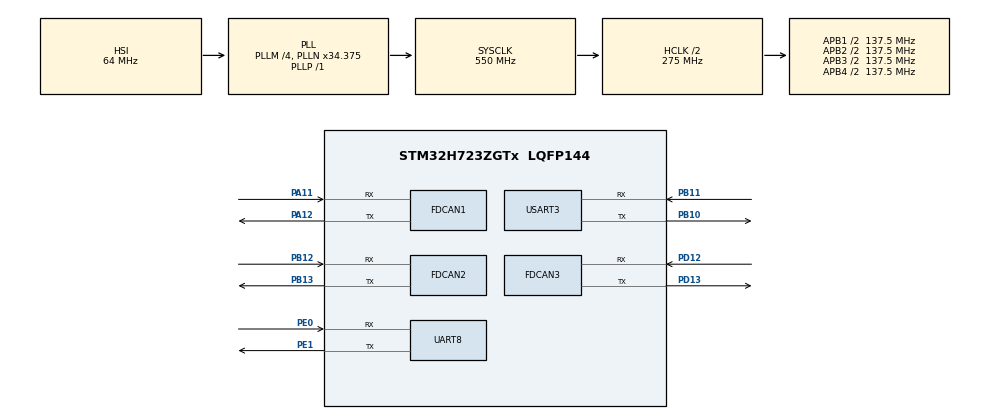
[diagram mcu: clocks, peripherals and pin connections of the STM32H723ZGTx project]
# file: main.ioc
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CORTEX_M7.default_mode_Activation=1
FDCAN1.CalculateBaudRateNominal=500000
FDCAN1.CalculateTimeBitNominal=2000
FDCAN1.CalculateTimeQuantumNominal=100.0
FDCAN1.MessageRAMOffset=0
FDCAN1.NominalPrescaler=12
FDCAN1.NominalTimeSeg1=9
FDCAN1.NominalTimeSeg2=10
FDCAN1.RxBuffersNbr=2
FDCAN1.RxFifo0ElmtsNbr=0
FDCAN1.StdFiltersNbr=2
FDCAN1.TxFifoQueueElmtsNbr=8
FDCAN2.CalculateBaudRateNominal=1000000
FDCAN2.CalculateTimeBitNominal=1000
FDCAN2.CalculateTimeQuantumNominal=50.0
FDCAN2.MessageRAMOffset=256
FDCAN2.NominalPrescaler=6
FDCAN2.NominalTimeSeg1=14
FDCAN2.NominalTimeSeg2=5
FDCAN2.RxBuffersNbr=8
FDCAN2.StdFiltersNbr=8
FDCAN2.TxFifoQueueElmtsNbr=8
FDCAN3.CalculateBaudRateNominal=1000000
FDCAN3.CalculateTimeBitNominal=1000
FDCAN3.CalculateTimeQuantumNominal=50.0
FDCAN3.MessageRAMOffset=328
FDCAN3.NominalPrescaler=6
FDCAN3.NominalTimeSeg1=14
FDCAN3.NominalTimeSeg2=5
FDCAN3.RxBuffersNbr=8
FDCAN3.StdFiltersNbr=8
FDCAN3.TxFifoQueueElmtsNbr=8
FREERTOS.BinarySemaphores01=Task1_ArmGet,Dynamic,NULL,Depleted
FREERTOS.Queues01=CmdQueueTask1,32,uint8_t,0,Dynamic,NULL,NULL
FREERTOS.Tasks01=ChassisMainTask,48,1024,StartChassisBaseTask,Default,NULL,Dynamic,NULL,NULL;Comms_Task,8,256,StartComms_Task,Default,NULL,Dynamic,NULL,NULL;MechaArm_Task,24,128,StartMechaArm_Task,Default,NULL,Dynamic,NULL,NULL
FREERTOS.Timers01=Chassis_M3508,Chassis_M3508Callback,osTimerPeriodic,Default,NULL,Dynamic,NULL
Mcu.Family=STM32H7
Mcu.Name=STM32H723ZGTx
Mcu.Package=LQFP144
NVIC.FDCAN1_IT0_IRQn=true\:5\:0\:false\:false\:true\:true\:true\:true\:true
NVIC.FDCAN2_IT0_IRQn=true\:5\:0\:false\:false\:true\:true\:true\:true\:true
NVIC.FDCAN3_IT0_IRQn=true\:5\:0\:false\:false\:true\:true\:true\:true\:true
NVIC.PriorityGroup=NVIC_PRIORITYGROUP_4
NVIC.TIM1_UP_IRQn=true\:5\:0\:false\:false\:true\:true\:true\:true\:true
NVIC.TIM2_IRQn=true\:5\:0\:false\:false\:true\:true\:true\:true\:true
NVIC.TIM8_TRG_COM_TIM14_IRQn=true\:15\:0\:false\:false\:true\:false\:false\:true\:true
NVIC.TimeBase=TIM8_TRG_COM_TIM14_IRQn
NVIC.TimeBaseIP=TIM14
NVIC.UART8_IRQn=true\:5\:0\:false\:false\:true\:true\:true\:true\:true
NVIC.USART3_IRQn=true\:5\:0\:false\:false\:true\:true\:true\:true\:true
PA11.Mode=FDCAN_Activate
PA11.Signal=FDCAN1_RX
PA12.Mode=FDCAN_Activate
PA12.Signal=FDCAN1_TX
PA13(JTMS/SWDIO).Mode=Serial_Wire
PA13(JTMS/SWDIO).Signal=DEBUG_JTMS-SWDIO
PA14(JTCK/SWCLK).Mode=Serial_Wire
PA14(JTCK/SWCLK).Signal=DEBUG_JTCK-SWCLK
PB10.Mode=Asynchronous
PB10.Signal=USART3_TX
PB11.Mode=Asynchronous
PB11.Signal=USART3_RX
PB12.Mode=FDCAN_Activate
PB12.Signal=FDCAN2_RX
PB13.Mode=FDCAN_Activate
PB13.Signal=FDCAN2_TX
PC14-OSC32_IN.Mode=LSE-External-Oscillator
PC14-OSC32_IN.Signal=RCC_OSC32_IN
PC15-OSC32_OUT.Mode=LSE-External-Oscillator
PC15-OSC32_OUT.Signal=RCC_OSC32_OUT
PD12.Mode=FDCAN_Activate
PD12.Signal=FDCAN3_RX
PD13.Mode=FDCAN_Activate
PD13.Signal=FDCAN3_TX
PE0.Mode=Asynchronous
PE0.Signal=UART8_RX
PE1.Mode=Asynchronous
PE1.Signal=UART8_TX
PH0-OSC_IN.Mode=HSE-External-Oscillator
PH0-OSC_IN.Signal=RCC_OSC_IN
PH1-OSC_OUT.Mode=HSE-External-Oscillator
PH1-OSC_OUT.Signal=RCC_OSC_OUT
ProjectManager.HeapSize=0x200
ProjectManager.StackSize=0x400
ProjectManager.TargetToolchain=CMake
RCC.ADCFreq_Value=120000000
RCC.APB1Freq_Value=137500000
RCC.APB2Freq_Value=137500000
RCC.APB3Freq_Value=137500000
RCC.APB4Freq_Value=137500000
RCC.CortexFreq_Value=550000000
RCC.D1PPRE=RCC_APB3_DIV2
RCC.D2PPRE1=RCC_APB1_DIV2
RCC.D2PPRE2=RCC_APB2_DIV2
RCC.D3PPRE=RCC_APB4_DIV2
RCC.DIVM1=4
RCC.DIVN1=34
RCC.DIVN2=120
RCC.DIVP1=1
RCC.DIVQ1=4
RCC.FDCANCLockSelection=RCC_FDCANCLKSOURCE_PLL2
RCC.HCLKFreq_Value=275000000
RCC.HPRE=RCC_HCLK_DIV2
RCC.PLL2FRACN=0
RCC.PLL3FRACN=0
RCC.PLLFRACN=3072
RCC.SYSCLKFreq_VALUE=550000000
RCC.SYSCLKSource=RCC_SYSCLKSOURCE_PLLCLK
RCC.USBFreq_Value=137500000
TIM1.Period=1000 - 1
TIM1.Prescaler=275 - 1
TIM2.Period=10000 - 1
TIM2.Prescaler=275 - 1
USART3.VirtualMode-Asynchronous=VM_ASYNC
VP_FREERTOS_VS_CMSIS_V2.Mode=CMSIS_V2
VP_MEMORYMAP_VS_MEMORYMAP.Mode=CurAppReg
VP_SYS_VS_tim14.Mode=TIM14
VP_TIM1_VS_ClockSourceINT.Mode=Internal
VP_TIM2_VS_ClockSourceINT.Mode=Internal
board=custom

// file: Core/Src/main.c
/* USER CODE BEGIN Header */
/**
  ******************************************************************************
  * @file           : main.c
  * @brief          : Main program body
  ******************************************************************************
  * @attention
  *
  * Copyright (c) 2026 STMicroelectronics.
  * All rights reserved.
  *
  * This software is licensed under terms that can be found in the LICENSE file
  * in the root directory of this software component.
  * If no LICENSE file comes with this software, it is provided AS-IS.
  *
  ******************************************************************************
  */
/* USER CODE END Header */
#include "main.h"
#include "FreeRTOS.h"
#include "cmsis_os2.h"
#include "fdcan.h"
#include "tim.h"
#include "usart.h"
#include "gpio.h"

/* USER CODE BEGIN Includes */

#include "uart_interact.h"
#include "chassis.h"
#include "chassis_task_1.h"
#include "m3508_driver.h"
#include "encoder_odo.h"
#include "yis506.h"
#include "iir.h"
#include "app.h"
#include <stdint.h>
#include <string.h>

/* USER CODE END Includes */

void SystemClock_Config(void);
void PeriphCommonClock_Config(void);
static void MPU_Config(void);
void MX_FREERTOS_Init(void);

/* USER CODE BEGIN 0 */

App_Context global_app;

App_Config cfg = {
  0.075, 0.305, 0.2905, (3591.0f / 187.0f),
  0.001,
  1.2, 1.2, 1,
  5, 0.01, 0.2,
  2, 0.01, 0,
  22.0, 0.07, 0.07,
  0.6, 0.2,
  0.02, 0.02,
// &htim1,
  &huart8,
  &hfdcan3, &hfdcan1,
// 3, 4, 5,
  2.6, 0.6,
  0.5, -0.5,
  -3.0, 2.0,
  200u,
};

// 通信队列
extern osMessageQueueId_t CmdQueueTask1Handle;
extern osThreadId_t ChassisMainTaskHandle;

// 定时器中断
void HAL_UART_RxCpltCallback(UART_HandleTypeDef *huart) {
  if (huart->Instance == UART8) {
    osMessageQueuePut(CmdQueueTask1Handle, (uint8_t *)&global_app.rx_byte, 0U, 0U);  // 把收到的字节压进队尾
    HAL_UART_Receive_IT(&huart8, (uint8_t *)&global_app.rx_byte, 1u);  // 继续接收串口字节
  }
}

// FDCAN中断
void HAL_FDCAN_RxBufferNewMessageCallback(FDCAN_HandleTypeDef *hfdcan)
{
  if (hfdcan->Instance == FDCAN3) {
      /* M3508 反馈由中断读取 */
      M3508_ReadStatus(&global_app.m3508);
  }
  else if (hfdcan->Instance == FDCAN1) {
    /* 码盘数据由中断读取并更新里程计 */

    if (HAL_FDCAN_IsRxBufferMessageAvailable(global_app.encoder.hfdcan, 0) && HAL_FDCAN_IsRxBufferMessageAvailable(global_app.encoder.hfdcan, 1)) {
      EncoderOdo_Update(&global_app.encoder, Yis506_GetYawRad(&global_app.yis506), 0.001);
    }
    if (HAL_FDCAN_IsRxBufferMessageAvailable(global_app.chassis.yis->hfdcan, YIS506_EULER_BUF)) {
      Yis506_Update(&global_app.yis506);
    }
  }
}

/* USER CODE END 0 */

int main(void)
{

  /* MPU Configuration--------------------------------------------------------*/
  MPU_Config();

  /* MCU Configuration--------------------------------------------------------*/

  /* Reset of all peripherals, Initializes the Flash interface and the Systick. */
  HAL_Init();

  /* Configure the system clock */
  SystemClock_Config();

  /* Configure the peripherals common clocks */
  PeriphCommonClock_Config();

  /* Initialize all configured peripherals */
  MX_GPIO_Init();
  MX_FDCAN1_Init();
  MX_FDCAN2_Init();
  MX_FDCAN3_Init();
  MX_TIM1_Init();
  MX_TIM2_Init();
  MX_USART3_UART_Init();
  MX_UART8_Init();
  /* USER CODE BEGIN 2 */

  Global_Init(&global_app, &cfg);

  /* USER CODE END 2 */

  /* Init scheduler */
  osKernelInitialize();  /* Call init function for freertos objects (in cmsis_os2.c) */
  MX_FREERTOS_Init();

  /* Start scheduler */
  osKernelStart();

  /* We should never get here as control is now taken by the scheduler */

  /* Infinite loop */
  while (1)
  {

  }
}

void SystemClock_Config(void)
{
  RCC_OscInitTypeDef RCC_OscInitStruct = {0};
  RCC_ClkInitTypeDef RCC_ClkInitStruct = {0};

  /** Supply configuration update enable
  */
  HAL_PWREx_ConfigSupply(PWR_LDO_SUPPLY);

  /** Configure the main internal regulator output voltage
  */
  __HAL_PWR_VOLTAGESCALING_CONFIG(PWR_REGULATOR_VOLTAGE_SCALE0);

  while(!__HAL_PWR_GET_FLAG(PWR_FLAG_VOSRDY)) {}

  /** Initializes the RCC Oscillators according to the specified parameters
  * in the RCC_OscInitTypeDef structure.
  */
  RCC_OscInitStruct.OscillatorType = RCC_OSCILLATORTYPE_HSI;
  RCC_OscInitStruct.HSIState = RCC_HSI_DIV1;
  RCC_OscInitStruct.HSICalibrationValue = 64;
  RCC_OscInitStruct.PLL.PLLState = RCC_PLL_ON;
  RCC_OscInitStruct.PLL.PLLSource = RCC_PLLSOURCE_HSI;
  RCC_OscInitStruct.PLL.PLLM = 4;
  RCC_OscInitStruct.PLL.PLLN = 34;
  RCC_OscInitStruct.PLL.PLLP = 1;
  RCC_OscInitStruct.PLL.PLLQ = 4;
  RCC_OscInitStruct.PLL.PLLR = 2;
  RCC_OscInitStruct.PLL.PLLRGE = RCC_PLL1VCIRANGE_3;
  RCC_OscInitStruct.PLL.PLLVCOSEL = RCC_PLL1VCOWIDE;
  RCC_OscInitStruct.PLL.PLLFRACN = 3072;
  if (HAL_RCC_OscConfig(&RCC_OscInitStruct) != HAL_OK)
  {
    Error_Handler();
  }

  /** Initializes the CPU, AHB and APB buses clocks
  */
  RCC_ClkInitStruct.ClockType = RCC_CLOCKTYPE_HCLK|RCC_CLOCKTYPE_SYSCLK
                              |RCC_CLOCKTYPE_PCLK1|RCC_CLOCKTYPE_PCLK2
                              |RCC_CLOCKTYPE_D3PCLK1|RCC_CLOCKTYPE_D1PCLK1;
  RCC_ClkInitStruct.SYSCLKSource = RCC_SYSCLKSOURCE_PLLCLK;
  RCC_ClkInitStruct.SYSCLKDivider = RCC_SYSCLK_DIV1;
  RCC_ClkInitStruct.AHBCLKDivider = RCC_HCLK_DIV2;
  RCC_ClkInitStruct.APB3CLKDivider = RCC_APB3_DIV2;
  RCC_ClkInitStruct.APB1CLKDivider = RCC_APB1_DIV2;
  RCC_ClkInitStruct.APB2CLKDivider = RCC_APB2_DIV2;
  RCC_ClkInitStruct.APB4CLKDivider = RCC_APB4_DIV2;

  if (HAL_RCC_ClockConfig(&RCC_ClkInitStruct, FLASH_LATENCY_3) != HAL_OK)
  {
    Error_Handler();
  }
}

void PeriphCommonClock_Config(void)
{
  RCC_PeriphCLKInitTypeDef PeriphClkInitStruct = {0};

  /** Initializes the peripherals clock
  */
  PeriphClkInitStruct.PeriphClockSelection = RCC_PERIPHCLK_FDCAN;
  PeriphClkInitStruct.PLL2.PLL2M = 32;
  PeriphClkInitStruct.PLL2.PLL2N = 120;
  PeriphClkInitStruct.PLL2.PLL2P = 2;
  PeriphClkInitStruct.PLL2.PLL2Q = 2;
  PeriphClkInitStruct.PLL2.PLL2R = 2;
  PeriphClkInitStruct.PLL2.PLL2RGE = RCC_PLL2VCIRANGE_1;
  PeriphClkInitStruct.PLL2.PLL2VCOSEL = RCC_PLL2VCOWIDE;
  PeriphClkInitStruct.PLL2.PLL2FRACN = 0;
  PeriphClkInitStruct.FdcanClockSelection = RCC_FDCANCLKSOURCE_PLL2;
  if (HAL_RCCEx_PeriphCLKConfig(&PeriphClkInitStruct) != HAL_OK)
  {
    Error_Handler();
  }
}

 /* MPU Configuration */

void MPU_Config(void)
{
  MPU_Region_InitTypeDef MPU_InitStruct = {0};

  /* Disables the MPU */
  HAL_MPU_Disable();

  /** Initializes and configures the Region and the memory to be protected
  */
  MPU_InitStruct.Enable = MPU_REGION_ENABLE;
  MPU_InitStruct.Number = MPU_REGION_NUMBER0;
  MPU_InitStruct.BaseAddress = 0x0;
  MPU_InitStruct.Size = MPU_REGION_SIZE_4GB;
  MPU_InitStruct.SubRegionDisable = 0x87;
  MPU_InitStruct.TypeExtField = MPU_TEX_LEVEL0;
  MPU_InitStruct.AccessPermission = MPU_REGION_NO_ACCESS;
  MPU_InitStruct.DisableExec = MPU_INSTRUCTION_ACCESS_DISABLE;
  MPU_InitStruct.IsShareable = MPU_ACCESS_SHAREABLE;
  MPU_InitStruct.IsCacheable = MPU_ACCESS_NOT_CACHEABLE;
  MPU_InitStruct.IsBufferable = MPU_ACCESS_NOT_BUFFERABLE;

  HAL_MPU_ConfigRegion(&MPU_InitStruct);
  /* Enables the MPU */
  HAL_MPU_Enable(MPU_PRIVILEGED_DEFAULT);

}

void HAL_TIM_PeriodElapsedCallback(TIM_HandleTypeDef *htim)
{
  if (htim->Instance == TIM14)
  {
    HAL_IncTick();
  }
  /* USER CODE BEGIN Callback 1 */
  else if (htim->Instance == TIM1) {
    if (ChassisMainTaskHandle != NULL) {
      osThreadFlagsSet(ChassisMainTaskHandle, 0x01u);
    }
  }
  /* USER CODE END Callback 1 */
}

void Error_Handler(void)
{
  __disable_irq();
  while (1)
  {
  }
}

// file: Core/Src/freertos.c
/* USER CODE BEGIN Header */
/**
  ******************************************************************************
  * File Name          : freertos.c
  * Description        : Code for freertos applications
  ******************************************************************************
  * @attention
  *
  * Copyright (c) 2026 STMicroelectronics.
  * All rights reserved.
  *
  * This software is licensed under terms that can be found in the LICENSE file
  * in the root directory of this software component.
  * If no LICENSE file comes with this software, it is provided AS-IS.
  *
  ******************************************************************************
  */
/* USER CODE END Header */

#include "FreeRTOS.h"
#include "task.h"
#include "main.h"
#include "FreeRTOS.h"
#include "cmsis_os2.h"

/* Definitions for ChassisMainTask */
osThreadId_t ChassisMainTaskHandle;
const osThreadAttr_t ChassisMainTask_attributes = {
  .name = "ChassisMainTask",
  .stack_size = 256 * 4,
  .priority = (osPriority_t) osPriorityRealtime,
};
/* Definitions for Comms_Task */
osThreadId_t Comms_TaskHandle;
const osThreadAttr_t Comms_Task_attributes = {
  .name = "Comms_Task",
  .stack_size = 256 * 4,
  .priority = (osPriority_t) osPriorityLow,
};
/* Definitions for MechaArm_Task */
osThreadId_t MechaArm_TaskHandle;
const osThreadAttr_t MechaArm_Task_attributes = {
  .name = "MechaArm_Task",
  .stack_size = 128 * 4,
  .priority = (osPriority_t) osPriorityNormal,
};
/* Definitions for CmdQueueTask1 */
osMessageQueueId_t CmdQueueTask1Handle;
const osMessageQueueAttr_t CmdQueueTask1_attributes = {
  .name = "CmdQueueTask1"
};
/* Definitions for Chassis_M3508 */
osTimerId_t Chassis_M3508Handle;
const osTimerAttr_t Chassis_M3508_attributes = {
  .name = "Chassis_M3508"
};
/* Definitions for Task1_ArmGet */
osSemaphoreId_t Task1_ArmGetHandle;
const osSemaphoreAttr_t Task1_ArmGet_attributes = {
  .name = "Task1_ArmGet"
};

void StartChassisBaseTask(void *argument);
void StartComms_Task(void *argument);
void StartMechaArm_Task(void *argument);
void Chassis_M3508Callback(void *argument);

void MX_FREERTOS_Init(void); /* (MISRA C 2004 rule 8.1) */

void MX_FREERTOS_Init(void) {

  /* Create the semaphores(s) */
  /* creation of Task1_ArmGet */
  Task1_ArmGetHandle = osSemaphoreNew(1, 0, &Task1_ArmGet_attributes);

  /* Create the timer(s) */
  /* creation of Chassis_M3508 */
  Chassis_M3508Handle = osTimerNew(Chassis_M3508Callback, osTimerPeriodic, NULL, &Chassis_M3508_attributes);

  /* Create the queue(s) */
  /* creation of CmdQueueTask1 */
  CmdQueueTask1Handle = osMessageQueueNew (32, sizeof(uint8_t), &CmdQueueTask1_attributes);

  /* Create the thread(s) */
  /* creation of ChassisMainTask */
  ChassisMainTaskHandle = osThreadNew(StartChassisBaseTask, NULL, &ChassisMainTask_attributes);

  /* creation of Comms_Task */
  Comms_TaskHandle = osThreadNew(StartComms_Task, NULL, &Comms_Task_attributes);

  /* creation of MechaArm_Task */
  MechaArm_TaskHandle = osThreadNew(StartMechaArm_Task, NULL, &MechaArm_Task_attributes);

}

void StartChassisBaseTask(void *argument)
{
  for(;;)
  {
    osDelay(1);
  }
}

void StartComms_Task(void *argument)
{
  for(;;)
  {
    osDelay(1);
  }
}

void StartMechaArm_Task(void *argument)
{
  for(;;)
  {
    osDelay(1);
  }
}

/* Chassis_M3508Callback function */
void Chassis_M3508Callback(void *argument)
{
}
